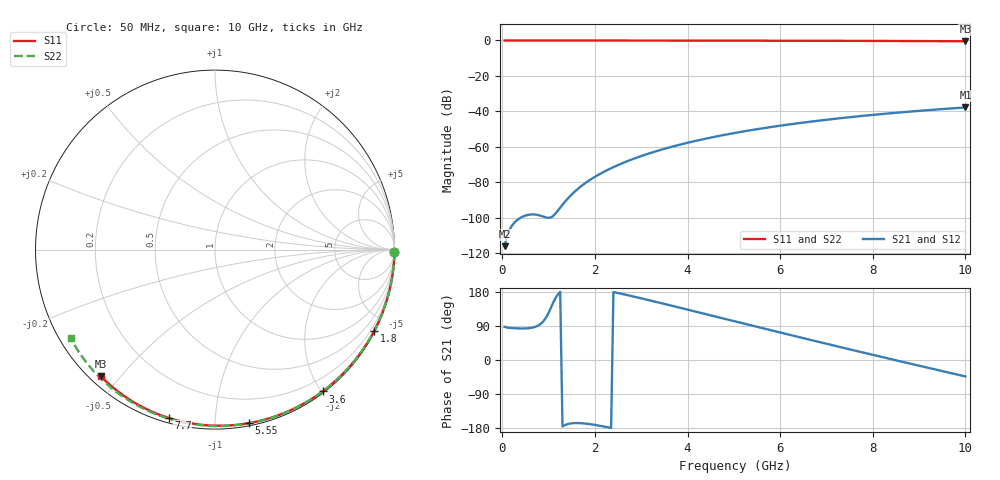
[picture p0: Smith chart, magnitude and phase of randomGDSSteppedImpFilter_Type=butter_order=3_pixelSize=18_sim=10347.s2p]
! freq	dB(S11)	phase(S11)	dB(S12)	phase(S12)
!  dB(S21)	phase(S21)	dB(S22)	phase(S22)
!S-par simulation data
#  GHz  S  DB  R 50
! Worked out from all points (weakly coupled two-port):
!   200 points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, 50 MHz to 10 GHz, reference 50 ohm
!   highest |S21| = -37.81 dB at 10 GHz (marker M1); lowest = -116.1 dB at 50 MHz (marker M2)
!   lowest |S11| = -0.4 dB at 10 GHz (marker M3), VSWR 38.96, Z = 1.54 - j22.3 ohm
!   |S11| at or under -10 dB: nowhere
!   |S22| runs from -0.5 to 0.0 dB; largest |S21 - S12| = 0
!   S11 on the Smith chart (normalised r, x): 50 MHz: open; 1.8 GHz: 0.04, -4.16; 3.6 GHz: 0.02, -2.01; 5.55 GHz: 0.02, -1.21; 7.7 GHz: 0.02, -0.76; 10 GHz: 0.03, -0.45
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0.05  -0.00 -0.8  -116.09 87.5  -116.09 87.5  -0.00 -0.9
0.45  -0.01 -6.9  -99.32 83.2  -99.32 83.2  -0.01 -7.7
0.9  -0.02 -13.6  -99.54 104.0  -99.54 104.0  -0.02 -15.4
1.3  -0.02 -19.6  -92.69 -175.3  -92.69 -175.3  -0.03 -22.2
1.75  -0.03 -26.3  -81.30 -167.2  -81.30 -167.2  -0.04 -29.7
1.8  -0.03 -27.0  -80.35 -167.8  -80.35 -167.8  -0.04 -30.5
1.85  -0.04 -27.8  -79.45 -168.5  -79.45 -168.5  -0.04 -31.3
2.05  -0.04 -30.7  -76.18 -172.3  -76.18 -172.3  -0.04 -34.6
2.2  -0.04 -32.9  -74.04 -175.6  -74.04 -175.6  -0.05 -37.1
2.5  -0.05 -37.2  -70.30 176.7  -70.30 176.7  -0.05 -42.0
2.9  -0.06 -43.0  -66.15 165.6  -66.15 165.6  -0.06 -48.4
3.4  -0.07 -50.1  -61.90 151.0  -61.90 151.0  -0.08 -56.3
3.6  -0.07 -52.9  -60.42 145.0  -60.42 145.0  -0.08 -59.5
4.3  -0.09 -62.5  -55.94 123.9  -55.94 123.9  -0.10 -70.2
5.05  -0.11 -72.4  -52.06 101.2  -52.06 101.2  -0.13 -81.3
5.55  -0.13 -78.9  -49.87 86.1  -49.87 86.1  -0.15 -88.5
6.1  -0.15 -85.9  -47.73 69.6  -47.73 69.6  -0.17 -96.3
6.7  -0.18 -93.4  -45.68 51.7  -45.68 51.7  -0.20 -104.6
7.7  -0.24 -105.4  -42.77 22.3  -42.77 22.3  -0.27 -118.1
8.35  -0.29 -113.0  -41.16 3.5  -41.16 3.5  -0.33 -126.7
9.2  -0.36 -122.8  -39.31 -20.8  -39.31 -20.8  -0.41 -137.9
10  -0.45 -131.9  -37.81 -43.4  -37.81 -43.4  -0.50 -148.4
